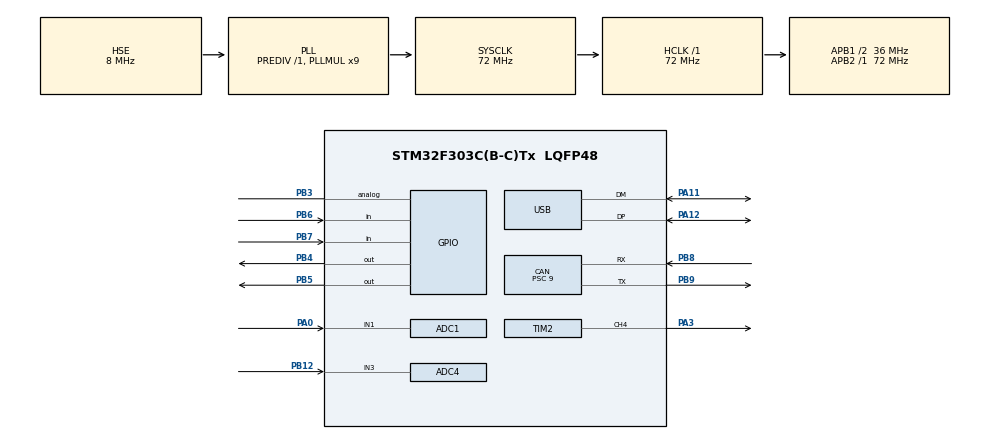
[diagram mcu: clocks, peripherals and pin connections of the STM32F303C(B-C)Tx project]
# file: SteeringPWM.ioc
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ADC1.Channel-0\#ChannelRegularConversion=ADC_CHANNEL_1
ADC1.ClockPrescaler=ADC_CLOCK_SYNC_PCLK_DIV2
ADC1.ContinuousConvMode=ENABLE
ADC1.NbrOfConversionFlag=1
ADC1.Offset-0\#ChannelRegularConversion=0
ADC1.OffsetNumber-0\#ChannelRegularConversion=ADC_OFFSET_NONE
ADC1.Rank-0\#ChannelRegularConversion=1
ADC1.SamplingTime-0\#ChannelRegularConversion=ADC_SAMPLETIME_19CYCLES_5
ADC1.master=1
ADC4.Channel-17\#ChannelRegularConversion=ADC_CHANNEL_3
ADC4.ContinuousConvMode=ENABLE
ADC4.NbrOfConversionFlag=1
ADC4.Offset-17\#ChannelRegularConversion=0
ADC4.OffsetNumber-17\#ChannelRegularConversion=ADC_OFFSET_NONE
ADC4.Rank-17\#ChannelRegularConversion=1
ADC4.SamplingTime-17\#ChannelRegularConversion=ADC_SAMPLETIME_1CYCLE_5
CAN.ABOM=DISABLE
CAN.AWUM=DISABLE
CAN.BS1=CAN_BS1_5TQ
CAN.BS2=CAN_BS2_2TQ
CAN.CalculateTimeBit=2000
CAN.CalculateTimeQuantum=250.0
CAN.Prescaler=9
CAN.SJW=CAN_SJW_1TQ
CAN.TXFP=DISABLE
Mcu.Family=STM32F3
Mcu.Name=STM32F303C(B-C)Tx
Mcu.Package=LQFP48
NVIC.PriorityGroup=NVIC_PRIORITYGROUP_4
NVIC.USB_LP_IRQn=true\:0\:0\:false\:false\:true\:false
PA0.Mode=IN1-Single-Ended
PA0.Signal=ADC1_IN1
PA11.Mode=Device
PA11.Signal=USB_DM
PA12.Mode=Device
PA12.Signal=USB_DP
PA13.Mode=Serial_Wire
PA13.Signal=SYS_JTMS-SWDIO
PA14.Mode=Serial_Wire
PA14.Signal=SYS_JTCK-SWCLK
PA3.Signal=S_TIM2_CH4
PB12.Mode=IN3-Single-Ended
PB12.Signal=ADC4_IN3
PB3.Signal=GPIO_Analog
PB4.Signal=GPIO_Output
PB5.Signal=GPIO_Output
PB6.Signal=GPIO_Input
PB7.Signal=GPIO_Input
PB8.Mode=Master
PB8.Signal=CAN_RX
PB9.Mode=Master
PB9.Signal=CAN_TX
PF0-OSC_IN.Mode=HSE-External-Oscillator
PF0-OSC_IN.Signal=RCC_OSC_IN
PF1-OSC_OUT.Mode=HSE-External-Oscillator
PF1-OSC_OUT.Signal=RCC_OSC_OUT
ProjectManager.HeapSize=0x200
ProjectManager.StackSize=0x400
ProjectManager.TargetToolchain=SW4STM32
RCC.AHBFreq_Value=72000000
RCC.APB1CLKDivider=RCC_HCLK_DIV2
RCC.APB1Freq_Value=36000000
RCC.APB1TimFreq_Value=72000000
RCC.APB2Freq_Value=72000000
RCC.APB2TimFreq_Value=72000000
RCC.CortexFreq_Value=72000000
RCC.HCLKFreq_Value=72000000
RCC.HSE_VALUE=8000000
RCC.HSI_VALUE=8000000
RCC.LSE_VALUE=32768
RCC.PLLMUL=RCC_PLL_MUL9
RCC.PRESCALERUSB=RCC_USBCLKSOURCE_PLL_DIV1_5
RCC.SYSCLKFreq_VALUE=72000000
RCC.SYSCLKSourceVirtual=RCC_SYSCLKSOURCE_PLLCLK
RCC.USBFreq_Value=48000000
SH.S_TIM2_CH4.0=TIM2_CH4,PWM Generation4 CH4
TIM2.Channel-PWM\ Generation4\ CH4=TIM_CHANNEL_4
USB_DEVICE.CLASS_NAME_FS=CDC
USB_DEVICE.VirtualMode=Cdc
USB_DEVICE.VirtualModeFS=Cdc_FS
VP_USB_DEVICE_VS_USB_DEVICE_CDC_FS.Mode=CDC_FS
board=SteeringPWM

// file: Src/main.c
/**
  ******************************************************************************
  * @file           : main.c
  * @brief          : Main program body
  ******************************************************************************
  * This notice applies to any and all portions of this file
  * that are not between comment pairs USER CODE BEGIN and
  * USER CODE END. Other portions of this file, whether
  * inserted by the user or by software development tools
  * are owned by their respective copyright owners.
  *
  * Copyright (c) 2018 STMicroelectronics International N.V.
  * All rights reserved.
  *
  * Redistribution and use in source and binary forms, with or without
  * modification, are permitted, provided that the following conditions are met:
  *
  * 1. Redistribution of source code must retain the above copyright notice,
  *    this list of conditions and the following disclaimer.
  * 2. Redistributions in binary form must reproduce the above copyright notice,
  *    this list of conditions and the following disclaimer in the documentation
  *    and/or other materials provided with the distribution.
  * 3. Neither the name of STMicroelectronics nor the names of other
  *    contributors to this software may be used to endorse or promote products
  *    derived from this software without specific written permission.
  * 4. This software, including modifications and/or derivative works of this
  *    software, must execute solely and exclusively on microcontroller or
  *    microprocessor devices manufactured by or for STMicroelectronics.
  * 5. Redistribution and use of this software other than as permitted under
  *    this license is void and will automatically terminate your rights under
  *    this license.
  *
  * THIS SOFTWARE IS PROVIDED BY STMICROELECTRONICS AND CONTRIBUTORS "AS IS"
  * AND ANY EXPRESS, IMPLIED OR STATUTORY WARRANTIES, INCLUDING, BUT NOT
  * LIMITED TO, THE IMPLIED WARRANTIES OF MERCHANTABILITY, FITNESS FOR A
  * PARTICULAR PURPOSE AND NON-INFRINGEMENT OF THIRD PARTY INTELLECTUAL PROPERTY
  * RIGHTS ARE DISCLAIMED TO THE FULLEST EXTENT PERMITTED BY LAW. IN NO EVENT
  * SHALL STMICROELECTRONICS OR CONTRIBUTORS BE LIABLE FOR ANY DIRECT, INDIRECT,
  * INCIDENTAL, SPECIAL, EXEMPLARY, OR CONSEQUENTIAL DAMAGES (INCLUDING, BUT NOT
  * LIMITED TO, PROCUREMENT OF SUBSTITUTE GOODS OR SERVICES; LOSS OF USE, DATA,
  * OR PROFITS; OR BUSINESS INTERRUPTION) HOWEVER CAUSED AND ON ANY THEORY OF
  * LIABILITY, WHETHER IN CONTRACT, STRICT LIABILITY, OR TORT (INCLUDING
  * NEGLIGENCE OR OTHERWISE) ARISING IN ANY WAY OUT OF THE USE OF THIS SOFTWARE,
  * EVEN IF ADVISED OF THE POSSIBILITY OF SUCH DAMAGE.
  *
  ******************************************************************************
  */
#include "main.h"
#include "stm32f3xx_hal.h"
#include "adc.h"
#include "can.h"
#include "tim.h"
#include "usb_device.h"
#include "gpio.h"

/* USER CODE BEGIN PV */

uint8_t g_cdcBuf[10];
uint8_t g_cdcBuf1[10];
uint8_t g_cdcBuf2[10];
uint8_t g_SpaPowerStatus;
uint16_t g_sendDelay;
uint32_t ADC_BUF[3];
int input_range = 4095;
float output_range = 100;
float pError;
float derivative;
int input = 0;
float output= 0;
float pid_output;
float error;
float angle;

#define SPA_TX_SEND_INTERVAL 50

//Requested parameter declaration

/* USER CODE END PV */

void SystemClock_Config(void);

/* USER CODE BEGIN 0 */
uint32_t ADC_Potentio;
/* USER CODE END 0 */

int main(void)
{

  /* MCU Configuration----------------------------------------------------------*/

  /* Reset of all peripherals, Initializes the Flash interface and the Systick. */
  HAL_Init();

  /* Configure the system clock */
  SystemClock_Config();

  /* Initialize all configured peripherals */
  MX_GPIO_Init();
  MX_CAN_Init();
  MX_USB_DEVICE_Init();
  MX_TIM2_Init();
  MX_ADC4_Init();
  MX_ADC1_Init();
  /* USER CODE BEGIN 2 */
  HAL_ADC_Start (&hadc1);
  HAL_TIM_PWM_Start(&htim2, TIM_CHANNEL_4);
  /* USER CODE END 2 */

  /* Infinite loop */
  /* USER CODE BEGIN WHILE */
  while(1)
  {

	  HAL_ADC_PollForConversion(&hadc1, 1000);
	  ADC_Potentio = HAL_ADC_GetValue (&hadc1);

	  g_sendDelay++;
	  uint32_t lastTick;
	  uint32_t delay = HAL_GetTick() - lastTick;

	  if (delay < 1) {//to not let divide with 0
	  		delay = 1;
	  	}

	 // output = (ADC_Potentio - 0)*output_range / input_range;

	  	  // Receive CAN packets
	  	  HAL_CAN_Receive(&hcan, CAN_FIFO0, 10);

		  if ((hcan.pRxMsg->StdId == 0x540) && (hcan.pRxMsg->IDE == CAN_ID_STD) && (hcan.pRxMsg->DLC == 0x4) )
		  //if ((hcan.pRxMsg->StdId == 0 ))//520
		  {

			  angle = 0;
			  uint8_t temp[4];
			  temp [0] = hcan.pRxMsg->Data[3];
			  temp [1] = hcan.pRxMsg->Data[2];
			  temp [2] = hcan.pRxMsg->Data[1];
			  temp [3] = hcan.pRxMsg->Data[0];
			  angle= *((float*)temp);
			  error = (422.5*angle+1442.3) - ADC_Potentio;

			  derivative = 0.9* derivative + 0.1*(error- pError)/delay;
			  pError = error;

			  pid_output = (6200 - 3*error) + 1*derivative;
			  if (p id_output < 4000) pid_output = 4000;
			  if (pid_output > 8000) pid_output = 8000;
			  TIM2->CCR4 = pid_output;

		  }

	  	  /* USER CODE END WHILE */

  }

}

void SystemClock_Config(void)
{

  RCC_OscInitTypeDef RCC_OscInitStruct;
  RCC_ClkInitTypeDef RCC_ClkInitStruct;
  RCC_PeriphCLKInitTypeDef PeriphClkInit;

    /**Initializes the CPU, AHB and APB busses clocks
    */
  RCC_OscInitStruct.OscillatorType = RCC_OSCILLATORTYPE_HSE;
  RCC_OscInitStruct.HSEState = RCC_HSE_ON;
  RCC_OscInitStruct.HSEPredivValue = RCC_HSE_PREDIV_DIV1;
  RCC_OscInitStruct.HSIState = RCC_HSI_ON;
  RCC_OscInitStruct.PLL.PLLState = RCC_PLL_ON;
  RCC_OscInitStruct.PLL.PLLSource = RCC_PLLSOURCE_HSE;
  RCC_OscInitStruct.PLL.PLLMUL = RCC_PLL_MUL9;
  if (HAL_RCC_OscConfig(&RCC_OscInitStruct) != HAL_OK)
  {
    _Error_Handler(__FILE__, __LINE__);
  }

    /**Initializes the CPU, AHB and APB busses clocks
    */
  RCC_ClkInitStruct.ClockType = RCC_CLOCKTYPE_HCLK|RCC_CLOCKTYPE_SYSCLK
                              |RCC_CLOCKTYPE_PCLK1|RCC_CLOCKTYPE_PCLK2;
  RCC_ClkInitStruct.SYSCLKSource = RCC_SYSCLKSOURCE_PLLCLK;
  RCC_ClkInitStruct.AHBCLKDivider = RCC_SYSCLK_DIV1;
  RCC_ClkInitStruct.APB1CLKDivider = RCC_HCLK_DIV2;
  RCC_ClkInitStruct.APB2CLKDivider = RCC_HCLK_DIV1;

  if (HAL_RCC_ClockConfig(&RCC_ClkInitStruct, FLASH_LATENCY_2) != HAL_OK)
  {
    _Error_Handler(__FILE__, __LINE__);
  }

  PeriphClkInit.PeriphClockSelection = RCC_PERIPHCLK_USB|RCC_PERIPHCLK_ADC34;
  PeriphClkInit.Adc34ClockSelection = RCC_ADC34PLLCLK_DIV1;
  PeriphClkInit.USBClockSelection = RCC_USBCLKSOURCE_PLL_DIV1_5;
  if (HAL_RCCEx_PeriphCLKConfig(&PeriphClkInit) != HAL_OK)
  {
    _Error_Handler(__FILE__, __LINE__);
  }

    /**Configure the Systick interrupt time
    */
  HAL_SYSTICK_Config(HAL_RCC_GetHCLKFreq()/1000);

    /**Configure the Systick
    */
  HAL_SYSTICK_CLKSourceConfig(SYSTICK_CLKSOURCE_HCLK);

  /* SysTick_IRQn interrupt configuration */
  HAL_NVIC_SetPriority(SysTick_IRQn, 0, 0);
}

void _Error_Handler(char *file, int line)
{
}

/************************ (C) COPYRIGHT STMicroelectronics *****END OF FILE****/
